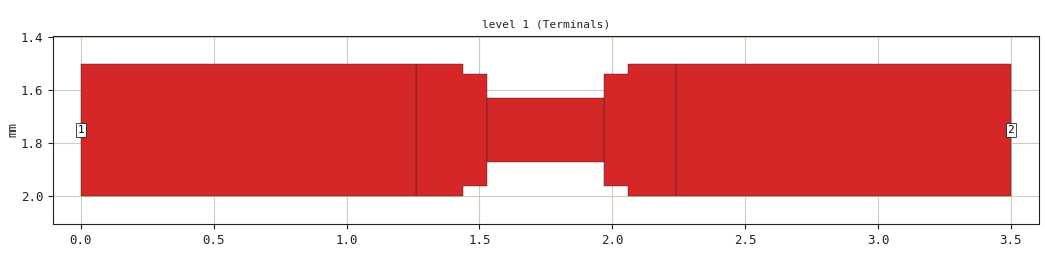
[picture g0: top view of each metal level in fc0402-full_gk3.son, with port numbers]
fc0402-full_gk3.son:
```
FTYP SONPROJ 19 ! Sonnet Project File
VER 18.0.alpha
HEADER
LIC sonnet8.12.50847
DAT 11/29/2021 19:33:25
BUILT_BY_CREATED xgeom 18.52 11/28/2021 22:49:20
BUILT_BY_SAVED sonnet 18.52.004
MDATE 11/29/2021 19:33:25
HDATE 11/29/2021 19:33:25
ANN fc0402-full_gk:
ANN 
ANN Vishay 0402 SMD resistor mounted flip chip
ANN comparing with Vishay S-parameter data
ANN Vishay website listed Modelithics as tester and resistor is mounted to quartz substrate. 
ANN quartz thickness is not given, but a search indicates 1 mm is common. it can't be too thick to operate up to 40 GHz
ANN changed mounting substrate to 1 mm quartz
ANN quartz likely has thinfilm gold plating
ANN defined new Gold Normal metal type with 0.00254 mm (0.1 mil) thickness and applied it to the terminals and box bottom cover
ANN removed 0.0175 mm thick air layer now terminals tech layer uses Normal metal type
ANN this also solves the problem that the resistor tech layer was on metal level2 instead of metal level 1, which is the bottom of the resistor alumina substrate
ANN Z-parts set to 5 for air layer containing brick - changed to 8 - only this layer needs to have a Z-partition value
ANN now see subsection crash caused by defect #13732 related to overlapping metal and brick polygons in 18.52
ANN analyze in 18.52.004 alpha
ANN 
ANN _gk2:
ANN 
ANN reduced box size from 5 x 5 mm to 4 x 4 mm
ANN reduced upper air layer from 5 to 4 mm
ANN 
ANN _gk3:
ANN 
ANN reduced box size to 3.5 x 3.5 mm
ANN reduced upper air layer 3.5 mm
ANN 
ANN 
ANN 
ANN 
ANN 
ANN 
ANN 
ANN 
ANN 
ANN 
ANN 
END HEADER
DIM
ANG DEG
CAP PF
CON /OH
FREQ GHZ
IND NH
LNG MM
RES OH
END DIM
CONTROL
VARSWP
OPTIONS  -dj
SPEED 0
CACHE_ABS 2
Q_ACC N
END CONTROL
GEO
SYM
DRP1 LEFT LINK
POLY 141 1
0
DRP1 RIGHT LINK
POLY 137 1
0
TMET "Free Space" 0 FREESPACE 376.7303136 0 0 0
BMET "Gold_Thinfilm" 3 NOR 41000000 0.5 0.00254 
MET "Copper" 1 TMM 58000000 0.5 0.0175 2
MET "Metal1" 2 RES 110  0.005
MET "Gold_Thinfilm" 3 NOR 41000000 0.5 0.00254 
BRI "Alumina" 1 9.9 0.0001 0 
BOX 2 3.5 3.5 700 700 20 0
      3.5 1 1 0 0 0 0 "Air"
      0.381 1 1 0 0 0 8 "Air"
      1 3.78 1 0.0001 0 0 0 "Quartz (Fused)"
TECHLAY METAL Terminals <UNSPECIFIED> -2 -65534 
1 0 2 N 157 1 1 100 100 0 0 0 Y
END
END
TECHLAY METAL Resistor <UNSPECIFIED> -3 -65534 
1 0 1 N 161 1 1 100 100 0 0 0 Y
END
END
TECHLAY BRICK Body <UNSPECIFIED> -4 -65534 
BRI POLY
1 0 1 N 298 1 1 100 100 0 0 0 Y
END
END
DIM STD XDIR 1
POS 0.4058644552 -0.06572821911
NOM 0.18
REF1 POLY 34 1
5
REF2 POLY 34 1
4
END
DIM STD YDIR -1
POS -0.1416768771 -0.2174602059
NOM 0.5
REF1 POLY 34 1
6
REF2 POLY 34 1
5
END
DIM STD XDIR -1
POS -0.0329053812 -0.005911455394
NOM 0.09
REF1 POLY 34 1
2
REF2 POLY 34 1
3
END
DIM STD YDIR -1
POS 0.02874469196 -0.08764620787
NOM 0.09
REF1 POLY 38 1
0
REF2 POLY 34 1
2
END
DIM STD YDIR -1
POS 0.04065680991 -0.0764893289
NOM 0.09
REF1 POLY 34 1
1
REF2 POLY 38 1
3
END
DIM STD YDIR -1
POS -0.1065980287 -0.200907452
NOM 0.24
REF1 POLY 38 1
2
REF2 POLY 38 1
1
END
DIM STD XDIR 1
POS 0.0329053812 -0.005911455394
NOM 0.09
REF1 POLY 45 1
2
REF2 POLY 45 1
3
END
DIM STD XDIR -1
POS -0.5675764103 -0.09343634565
NOM 1.02
REF1 POLY 81 1
1
REF2 POLY 81 1
0
END
DIM STD YDIR 1
POS 0.0431181699 0.3425471713
NOM 0.54
REF1 POLY 81 1
1
REF2 POLY 81 1
2
END
DIM STD XDIR 1
POS 0.2624347856 -0.01845001625
NOM 0.44
REF1 POLY 38 1
0
REF2 POLY 38 1
1
END
LORGN 0 3.5 U 
POR1 BOX
POLY 137 1
2
2 50 0 0 0 3.5 1.75 
POR1 BOX
POLY 141 1
2
1 50 0 0 0 0 1.75 
NUM 6
1 9 2 N 34 1 1 100 100 0 0 0 Y
TLAYNAM Terminals INH
1.44 1.96
1.53 1.96
1.53 1.54
1.44 1.54
1.44 1.5
1.26 1.5
1.26 2
1.44 2
1.44 1.96
END
1 9 2 N 45 1 1 100 100 0 0 0 Y
TLAYNAM Terminals INH
2.06 1.96
1.97 1.96
1.97 1.54
2.06 1.54
2.06 1.5
2.24 1.5
2.24 2
2.06 2
2.06 1.96
END
1 5 2 N 137 1 1 100 100 0 0 0 Y
TLAYNAM Terminals INH
2.24 1.5
2.24 2
3.5 2
3.5 1.5
2.24 1.5
END
1 5 2 N 141 1 1 100 100 0 0 0 Y
TLAYNAM Terminals INH
1.26 1.5
1.26 2
0 2
0 1.5
1.26 1.5
END
1 5 1 N 38 1 1 100 100 0 0 0 Y
TLAYNAM Resistor INH
1.53 1.63
1.97 1.63
1.97 1.87
1.53 1.87
1.53 1.63
END
BRI POLY
1 5 1 N 81 1 1 100 100 0 0 0 Y
TLAYNAM Body INH
1.24 1.48
2.26 1.48
2.26 2.02
1.24 2.02
1.24 1.48
END
END GEO
OPT
MAX 100
END OPT
VARSWP
ENABLED Y
FREQ Y AY ABS_ENTRY 0.01 40.0 -1 300 
END
END VARSWP
3DOPTIONS
GLOBAL 1
ALL 3 1
END 3DOPTIONS
```
